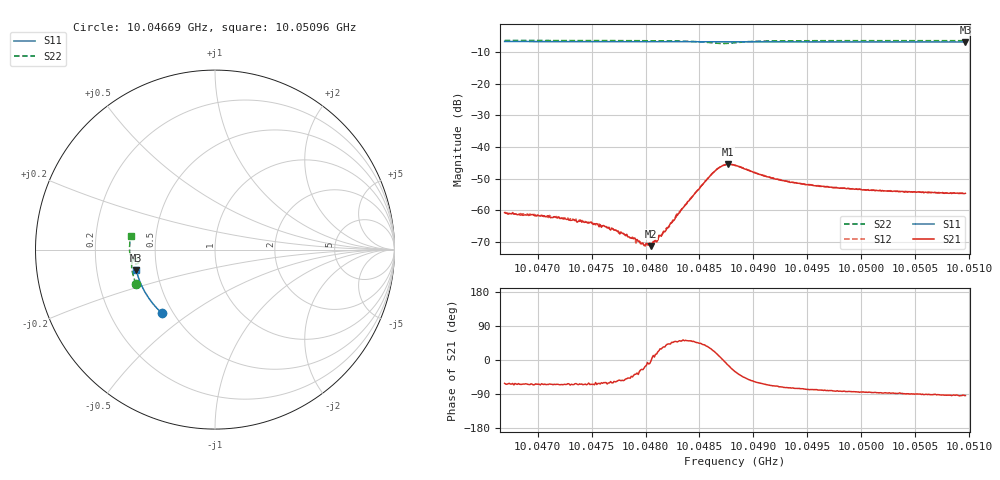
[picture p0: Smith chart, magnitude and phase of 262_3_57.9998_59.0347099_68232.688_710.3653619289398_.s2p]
#  HZ  S  RI  R  50.00
! Rohde & Schwarz Vector Network Analyzer
! Rohde-Schwarz,ZNB20-2Port,1311601062101988,3.16
! Created: UTC 3/21/2024, 1:02:02 AM
! freq[Hz]  re:S11  im:S11  re:S21  im:S21  re:S12  im:S12  re:S22  im:S22
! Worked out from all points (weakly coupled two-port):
!   401 points, 10.04669 GHz to 10.05096 GHz, reference 50 ohm
!   highest |S21| = -45.49 dB at 10.04877 GHz (marker M1); lowest = -71.3 dB at 10.04805 GHz (marker M2)
!   lowest |S11| = -6.9 dB at 10.05096 GHz (marker M3), VSWR 2.66, Z = 19.1 - j5.53 ohm
!   |S11| at or under -10 dB: nowhere
!   |S22| runs from -7.4 to -6.4 dB; largest |S21 - S12| = 0.00036
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1.0046695e10  -0.2965 -0.3528  0.000437 -0.000809  0.000487 -0.000806  -0.4399 -0.191
1.0047175e10  -0.3193 -0.3308  0.000333 -0.00069  0.000385 -0.0007  -0.4508 -0.1603
1.004741e10  -0.33 -0.3195  0.000292 -0.00058  0.000347 -0.000591  -0.4555 -0.1445
1.0047538e10  -0.3356 -0.3132  0.000309 -0.000523  0.000319 -0.000495  -0.4578 -0.1359
1.0047719e10  -0.3435 -0.3041  0.00026 -0.000411  0.0003 -0.000392  -0.4607 -0.1232
1.0047986e10  -0.3545 -0.2904  0.000259 -0.000102  0.000279 -8.48e-05  -0.4639 -0.1031
1.0048007e10  -0.3552 -0.2892  0.000292 -7.57e-05  0.000284 -5.19e-05  -0.4641 -0.1013
1.004805e10  -0.357 -0.2869  0.000273 -1.46e-05  0.000282 2.79e-05  -0.4643 -0.098
1.0048093e10  -0.3587 -0.2846  0.000324 8.77e-05  0.000312 0.000131  -0.4644 -0.0944
1.0048125e10  -0.3599 -0.283  0.000359 0.000165  0.000357 0.000187  -0.4648 -0.0917
1.0048199e10  -0.363 -0.2789  0.000392 0.000343  0.00039 0.000365  -0.4646 -0.0853
1.0048317e10  -0.3674 -0.2727  0.00058 0.000716  0.000562 0.000785  -0.4633 -0.0743
1.0048605e10  -0.3777 -0.2567  0.00312 0.00178  0.00303 0.00197  -0.4397 -0.0494
1.004869e10  -0.3804 -0.2521  0.00477 0.000675  0.00475 0.000974  -0.4262 -0.0566
1.0048765e10  -0.3829 -0.248  0.00517 -0.00124  0.00523 -0.000948  -0.4257 -0.0713
1.0048829e10  -0.3852 -0.2446  0.00438 -0.00259  0.00464 -0.00233  -0.4349 -0.0788
1.0049181e10  -0.3969 -0.2246  0.00118 -0.00297  0.0014 -0.00295  -0.4682 -0.055
1.0049363e10  -0.4024 -0.2139  0.000778 -0.00264  0.000915 -0.00262  -0.4726 -0.0393
1.0049544e10  -0.4077 -0.2031  0.000508 -0.00243  0.000677 -0.00242  -0.4746 -0.0251
1.0049875e10  -0.4163 -0.1832  0.000262 -0.00221  0.000396 -0.00217  -0.4759 -0.00062
1.0050259e10  -0.4254 -0.1595  0.000121 -0.00202  0.000221 -0.00202  -0.4754 0.0262
1.0050964e10  -0.4385 -0.1152  -0.000125 -0.00185  -3.51e-05 -0.00183  -0.47 0.0737
